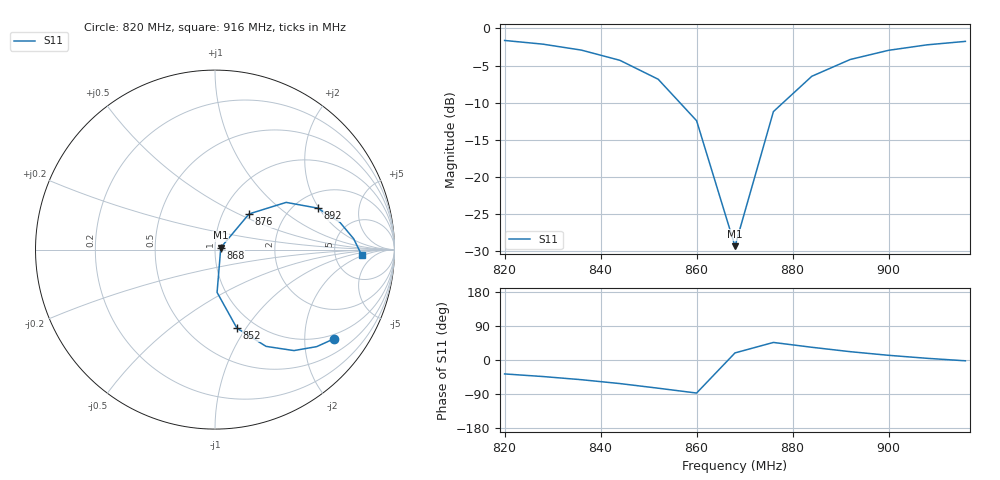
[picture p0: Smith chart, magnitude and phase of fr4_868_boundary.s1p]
# Hz S RI R 50
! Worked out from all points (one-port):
!   13 points, 820 MHz to 916 MHz, reference 50 ohm
!   lowest |S11| = -29.4 dB at 868 MHz (marker M1), VSWR 1.07, Z = 53.3 + j1.17 ohm
!   |S11| at or under -10 dB: 856.5 MHz to 878 MHz (21.54 MHz wide, 2.48 % of centre)
!   S11 on the Smith chart (normalised r, x): 820 MHz: 0.87, -2.77; 852 MHz: 0.82, -0.91; 868 MHz: 1.07, +0.02; 876 MHz: 1.33, +0.57; 892 MHz: 2.62, +1.96; 916 MHz: 9.64, -1.77
8.2e8  0.6647 -0.4962
8.28e8  0.5665 -0.5406
8.36e8  0.4397 -0.5626
8.44e8  0.2846 -0.5392
8.52e8  0.1219 -0.4376
8.6e8  0.0116 -0.2384
8.68e8  0.0323 0.0109
8.76e8  0.1899 0.1989
8.84e8  0.3964 0.2631
8.92e8  0.5725 0.2309
9e8  0.6954 0.1525
9.08e8  0.7726 0.0605
9.16e8  0.8171 -0.0305
